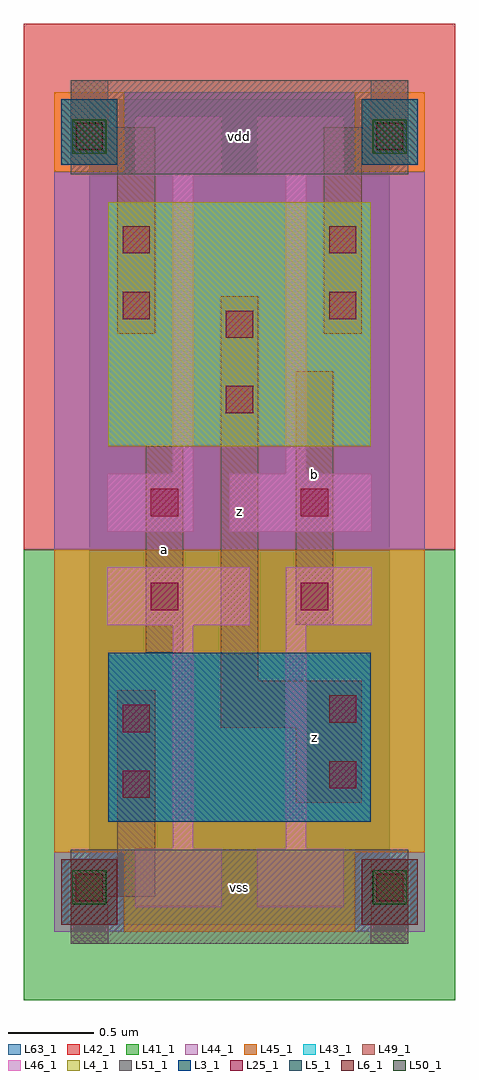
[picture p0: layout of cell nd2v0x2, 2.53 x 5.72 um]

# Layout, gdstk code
import gdstk
lib = gdstk.Library(unit=1e-6, precision=1e-09)
def R(c, l, rs):  # rectangles x0, y0, x1, y1
    for r in rs: c.add(gdstk.rectangle(r[:2], r[2:], *l))
L3_1 = (3, 1)
L4_1 = (4, 1)
L5_1 = (5, 1)
L6_1 = (6, 1)
L25_1 = (25, 1)
L41_1 = (41, 1)
L42_1 = (42, 1)
L43_1 = (43, 1)
L44_1 = (44, 1)
L45_1 = (45, 1)
L46_1 = (46, 1)
L49_1 = (49, 1)
L50_1 = (50, 1)
L51_1 = (51, 1)
L63_1 = (63, 1)

nd2v0x2 = lib.new_cell('nd2v0x2')
R(nd2v0x2, L3_1, [(0.11,0.605,1.65,1.595)])
R(nd2v0x2, L4_1, [(0.11,2.805,1.65,4.235)])
R(nd2v0x2, L5_1, [(-0.165,4.455,0.165,4.84), (1.595,4.455,1.925,4.84)])
R(nd2v0x2, L6_1, [(-0.165,0,0.165,0.385), (1.595,0,1.925,0.385)])
R(nd2v0x2, L25_1, [(-0.08,0.14,0.08,0.3), (1.68,0.14,1.84,0.3), (0.195,0.745,0.355,0.905), (1.405,0.8,1.565,0.96), (0.195,1.13,0.355,1.29), (1.405,1.185,1.565,1.345), (0.36,1.845,0.52,2.005), (1.24,1.845,1.4,2.005), (0.36,2.395,0.52,2.555), (1.24,2.395,1.4,2.555), (0.8,3,0.96,3.16), (0.8,3.44,0.96,3.6), (0.195,3.55,0.355,3.71), (1.405,3.55,1.565,3.71), (0.195,3.935,0.355,4.095), (1.405,3.935,1.565,4.095), (-0.08,4.54,0.08,4.7), (1.68,4.54,1.84,4.7)])
R(nd2v0x2, L41_1, [(-0.385,-0.44,2.145,2.2)])
R(nd2v0x2, L42_1, [(-0.385,2.2,2.145,5.28)])
R(nd2v0x2, L43_1, [(-0.165,0,0.165,0.385), (1.595,0,1.925,0.385), (0.11,0.605,1.65,1.595), (0.11,2.805,1.65,4.235), (-0.165,4.455,0.165,4.84), (1.595,4.455,1.925,4.84)])
R(nd2v0x2, L44_1, [(-0.205,-0.04,0.205,0.425), (1.555,-0.04,1.965,0.425), (-0.205,2.2,1.965,4.415), (0.205,4.415,1.555,4.88)])
R(nd2v0x2, L45_1, [(0.205,-0.04,1.555,0.425), (-0.205,0.425,1.965,2.2), (-0.205,4.415,0.205,4.88), (1.555,4.415,1.965,4.88)])
R(nd2v0x2, L46_1, [(0.27,0.105,0.775,0.445), (0.985,0.105,1.49,0.445), (0.49,0.445,0.61,1.755), (1.15,0.445,1.27,1.755), (0.105,1.755,0.94,2.095), (1.15,1.755,1.655,2.095), (0.105,2.305,0.61,2.645), (0.82,2.305,1.655,2.645), (0.49,2.645,0.61,4.395), (1.15,2.645,1.27,4.395), (0.27,4.395,0.775,4.735), (0.985,4.395,1.49,4.735)])
R(nd2v0x2, L49_1, [(-0.11,-0.11,0.11,0.165), (1.65,-0.11,1.87,0.385), (-0.11,0.165,0.385,0.385), (0.165,0.385,0.385,1.375), (1.21,0.715,1.595,1.155), (0.77,1.155,1.595,1.43), (0.77,1.43,0.99,3.685), (0.33,1.595,0.55,2.805), (1.21,1.76,1.43,3.245), (0.165,3.465,0.385,4.455), (1.375,3.465,1.595,4.455), (-0.11,4.455,0.385,4.675), (1.375,4.455,1.87,4.675), (-0.11,4.675,0.11,4.95), (1.65,4.675,1.87,4.95)])
R(nd2v0x2, L50_1, [(-0.1,0.12,0.1,0.32), (1.66,0.12,1.86,0.32), (-0.1,4.52,0.1,4.72), (1.66,4.52,1.86,4.72)])
R(nd2v0x2, L51_1, [(-0.11,-0.11,1.87,0.44), (-0.11,4.4,1.87,4.95)])
R(nd2v0x2, L63_1, [(0,0,1.76,4.84)])
nd2v0x2.add(gdstk.Label('a', (0.44,2.2), layer=49, texttype=1))
nd2v0x2.add(gdstk.Label('z', (0.88,2.42), layer=49, texttype=1))
nd2v0x2.add(gdstk.Label('z', (1.32,1.1), layer=49, texttype=1))
nd2v0x2.add(gdstk.Label('b', (1.32,2.64), layer=49, texttype=1))
nd2v0x2.add(gdstk.Label('vss', (0.88,0.22), layer=51, texttype=1))
nd2v0x2.add(gdstk.Label('vdd', (0.88,4.62), layer=51, texttype=1))

lib.write_gds('nd2v0x2.gds')
